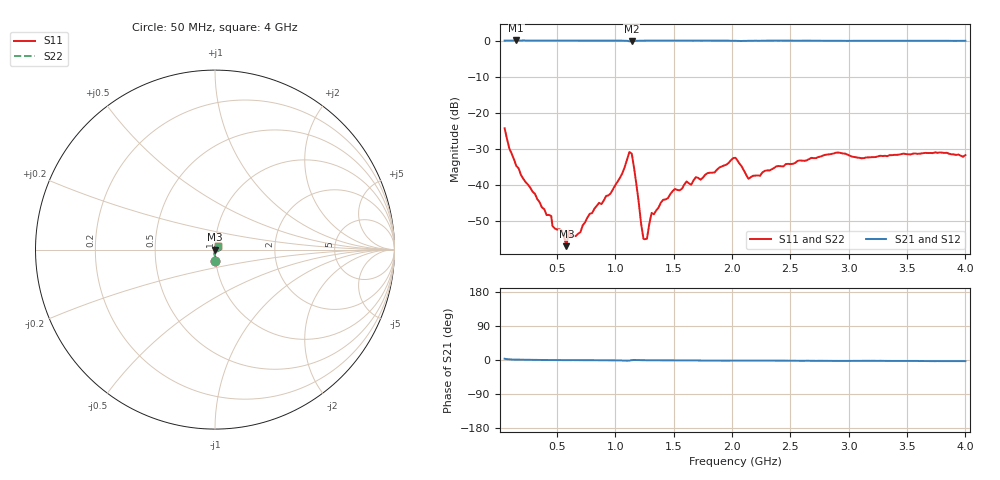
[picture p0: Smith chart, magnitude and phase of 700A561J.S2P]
!  American Technical Ceramics  Date:  3/13/98
!  One Norden Lane
!  Huntington Station,  NY.  11746-2102
!  Tel:  (516) 547-5700  Fax:  (516) 547-5748
!  Part Number  700A561J
!  Description: Porcelain, High Q, Low ESR
!  Application: Bypass, Coupling, Timing, Feedback
!  Tuning, Impedance Match, Blocking
# GHZ S DB R 50
! Freq  |S11|  S11 Ph  |S21|  S21 Ph  |S12|  S12 Ph  |S22|  S22 Ph
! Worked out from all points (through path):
!   201 points, 50 MHz to 4 GHz, reference 50 ohm
!   highest |S21| = 0.02 dB at 150 MHz (marker M1); lowest = -0.3 dB at 1.14 GHz (marker M2)
!   lowest |S11| = -56.9 dB at 580 MHz (marker M3), VSWR 1.00, Z = 49.9 - j0.00689 ohm
!   |S11| at or under -10 dB: start of sweep to end of sweep
!   |S22| runs from -56.9 to -24.3 dB; largest |S21 - S12| = 0
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0.05  -24.26 -88.7  -0.03 3.3  -0.03 3.3  -24.26 -88.7
0.15  -34.66 -94.9  0.02 1.0  0.02 1.0  -34.66 -94.9
0.45  -48.53 -129.6  -0.01 -0.0  -0.01 -0.0  -48.53 -129.6
0.46  -51.26 -127.7  0.01 -0.0  0.01 -0.0  -51.26 -127.7
0.54  -52.54 -149.6  0.01 -0.3  0.01 -0.3  -52.54 -149.6
0.58  -56.86 -177.2  0.00 -0.3  0.00 -0.3  -56.86 -177.2
0.6  -52.56 179.8  -0.01 -0.4  -0.01 -0.4  -52.56 179.8
0.66  -54.06 136.9  0.00 -0.4  0.00 -0.4  -54.06 136.9
0.72  -51.08 120.9  0.00 -0.6  0.00 -0.6  -51.08 120.9
0.96  -42.22 94.2  -0.02 -0.8  -0.02 -0.8  -42.22 94.2
1.12  -30.81 34.2  -0.21 -1.5  -0.21 -1.5  -30.81 34.2
1.14  -31.30 -2.7  -0.25 -0.5  -0.25 -0.5  -31.30 -2.7
1.24  -54.79 -3.6  -0.04 -0.5  -0.04 -0.5  -54.79 -3.6
1.27  -54.82 52.2  -0.01 -0.8  -0.01 -0.8  -54.82 52.2
1.31  -47.67 80.5  -0.02 -0.7  -0.02 -0.7  -47.67 80.5
1.37  -46.17 86.4  -0.01 -0.9  -0.01 -0.9  -46.17 86.4
1.51  -41.04 80.9  0.00 -1.1  0.00 -1.1  -41.04 80.9
2.03  -32.43 54.4  -0.09 -1.8  -0.09 -1.8  -32.43 54.4
2.14  -38.21 47.5  -0.07 -1.4  -0.07 -1.4  -38.21 47.5
2.7  -32.51 68.7  -0.05 -2.0  -0.05 -2.0  -32.51 68.7
3.35  -31.70 64.9  -0.06 -2.5  -0.06 -2.5  -31.70 64.9
4  -31.67 55.1  -0.08 -3.0  -0.08 -3.0  -31.67 55.1
